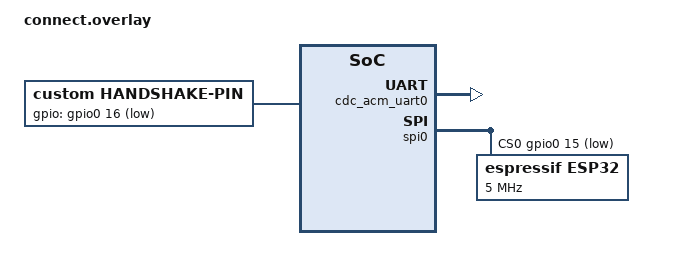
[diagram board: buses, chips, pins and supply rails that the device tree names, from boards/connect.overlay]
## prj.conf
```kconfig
CONFIG_GPIO=y
CONFIG_SPI=y
CONFIG_SERIAL=y
CONFIG_CONSOLE=y
CONFIG_UART_CONSOLE=y
CONFIG_UART_LINE_CTRL=y

CONFIG_NCS_SAMPLES_DEFAULTS=y

CONFIG_HEAP_MEM_POOL_SIZE=16384

CONFIG_BT=y
CONFIG_BT_DEBUG_LOG=y
CONFIG_BT_CENTRAL=y
CONFIG_BT_GATT_CLIENT=y
CONFIG_BT_HRS_CLIENT=y
CONFIG_BT_GATT_DM=y

CONFIG_BT_SCAN=y
CONFIG_BT_SCAN_FILTER_ENABLE=y
CONFIG_BT_SCAN_UUID_CNT=1

CONFIG_BT_CTLR_ADV_EXT=y
CONFIG_BT_CTLR_PHY_CODED=y

CONFIG_BT_EXT_ADV=y
CONFIG_BT_USER_PHY_UPDATE=y

CONFIG_BT_MAX_CONN=20
CONFIG_BT_RX_STACK_SIZE=16384

# USB subsystem configuration
CONFIG_USB_DEVICE_STACK=y
CONFIG_USB_DEVICE_PRODUCT="Zephyr USB Console"
CONFIG_USB_DEVICE_INITIALIZE_AT_BOOT=y
CONFIG_MAIN_STACK_SIZE=8196
```

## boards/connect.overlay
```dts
/*
 * Copyright (c) 2022-2023 Marcin Niestroj
 *
 * SPDX-License-Identifier: Apache-2.0
 */
 / {
    chosen {
        zephyr,console = &cdc_acm_uart0;
    };

    // reserved-memory {
    //     #address-cells = <1>;
    //     #size-cells = <1>;
    //     ranges;
    // };

    handshake: handshake {
        compatible = "custom,handshake-pin";
        gpios = <&gpio0 16 (GPIO_ACTIVE_LOW | GPIO_PULL_UP)>;
        status = "okay";
    };
    // cs: cs {
    //     compatible = "nordic,gpio-pins";
    //     gpios = <&gpio0 15 GPIO_ACTIVE_LOW>;
    //     status = "okay";        
    // };
};

&zephyr_udc0 {
    cdc_acm_uart0: cdc_acm_uart0 {
        compatible = "zephyr,cdc-acm-uart";
    };
};

&i2c0 {
    status = "disabled";
};

&spi0 {
	compatible = "nordic,nrf-spi";
	status = "okay";
	pinctrl-0 = <&spi0_default>;
	pinctrl-1 = <&spi0_sleep>;
	pinctrl-names = "default", "sleep";
    cs-gpios = <&gpio0 15 GPIO_ACTIVE_LOW>;
	esp32: esp32@0 {
		compatible = "espressif,esp32";
		reg = <0>;
		spi-max-frequency = <5000000>; 
	};
};

&i2c1 {
    status = "disabled";
};
```

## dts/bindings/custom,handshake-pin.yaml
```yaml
description: GPIO pin to receive handshake from ESP32

compatible: "custom,handshake-pin"

properties:
  gpios:
    type: phandle-array
    required: true
    description: |
      The GPIO connected the handshake pin of the ESP32
```

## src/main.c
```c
#include <stdio.h>
#include <string.h>
#include <stdint.h>
#include <zephyr/kernel.h>
#include <zephyr/device.h>

#include <zephyr/devicetree.h>
#include <zephyr/drivers/gpio.h>
#include <zephyr/logging/log.h>
#include <zephyr/drivers/spi.h>
#include <zephyr/sys/printk.h>
#include <zephyr/sys/byteorder.h>
#include <zephyr/sys/mutex.h>
#include <zephyr/drivers/clock_control.h>
#include <zephyr/posix/time.h>
#include <zephyr/bluetooth/bluetooth.h>
#include <zephyr/bluetooth/conn.h>
#include <zephyr/bluetooth/uuid.h>
#include <zephyr/bluetooth/gatt.h>
#include <bluetooth/gatt_dm.h>
#include <bluetooth/scan.h>
#include <zephyr/random/random.h>

#include "env_client.h"  
#include "spi_communication.h"

#define SLEEP_TIME_MS   1000

#define DEVICE_NAME             "Basisstion1"
#define DEVICE_NAME_LEN         (sizeof(DEVICE_NAME) - 1)

#define MAX_CONNECTIONS 20
#define SENSOR_DATA_SIZE 129
#define QUEUE_SIZE 10

#define BT_THREAD_STACK_SIZE 1024
#define SPI_THREAD_STACK_SIZE 1024

static const struct gpio_dt_spec led = GPIO_DT_SPEC_GET(LED0_NODE, gpios);
static const struct gpio_dt_spec led1 = GPIO_DT_SPEC_GET(LED1_NODE, gpios);

//static struct bt_conn *default_conn = NULL; 
//static struct bt_conn *default_conn[MAX_CONNECTIONS] = {NULL}; // Array van pointers naar bt_conn

static struct bt_sensorSht_client sht45s_c[MAX_CONNECTIONS];

K_THREAD_STACK_DEFINE(bt_thread_stack_area, BT_THREAD_STACK_SIZE);

K_THREAD_STACK_DEFINE(spi_thread_stack_area, SPI_THREAD_STACK_SIZE);

struct sensor_data {
    uint16_t temperature;
    uint16_t humidity;
    uint32_t node_id;
};

K_MSGQ_DEFINE(sensor_data_queue, sizeof(struct sensor_data), QUEUE_SIZE, 4);

struct k_thread bt_thread_data;
struct k_thread spi_thread_data;

struct time_data {
	time_t time;
	int64_t uptime;
};

struct time_data current_time = {0, 0};
// bool check_connection_status()
// {
//     if (default_conn != NULL) {
//         return true;
//     } else {
//         return false;
//     }
// }

bool check_connection_status()
{
    for (int i = 0; i < MAX_CONNECTIONS; i++) {
        if (sht45s_c[i].conn != NULL) {
            return true;
        }
    }
    return false;
}

static void notify_func(struct bt_sensorSht_client *sht45s_c,
			const struct env_data *meas,
			int err)
{
	char addr[BT_ADDR_LE_STR_LEN];

    if (meas == NULL) {
        printk("Error: Invalid measurement data format received\n");
        return;
    }

    if (!check_connection_status()) {
        printk("Error: Connection to Basestation is not active\n");
        return;
    }

	if (err) {
		printk("Error during receiving SHT45 sensor Measurement notification, err: %d\n",
		       err);
		printk("Received data details:\n");
        printk("\tNode_id: %X\n", meas->node_id);
        printk("\tTemperature: %d\n", meas->temperature);
        printk("\tHumidity: %d\n", meas->humidity);
		return;
	}
    //handshake_toggled(meas->temperature, meas->humidity, meas->node_id);
    
    printk("SHT45 sensor Measurement notification received:\n\n");
	printk("\tNode_id: %X\n", meas->node_id);
    printk("\tTemperature: %d\n", meas->temperature);
    printk("\tHumidity: %d\n", meas->humidity);

	printk("\n");
	for (int i = 0; i < MAX_CONNECTIONS; i++) {
        if (sht45s_c[i].conn != NULL) {
			bt_addr_le_to_str(bt_conn_get_dst(sht45s_c[i].conn), addr, sizeof(addr));
			printk("Connected: %s, \n",addr);
		}
	}
}

static void discover_sht45s_completed(struct bt_gatt_dm *dm, void *ctx)
{
	int err;

	printk("The discovery procedure succeeded\n");

	bt_gatt_dm_data_print(dm);

	struct bt_sensorSht_client *sht45_client = (struct bt_sensorSht_client *)ctx;


	err = bt_sht45s_client_handles_assign(dm, sht45_client);
	if (err) {
		printk("Could not init sht45S client object (err %d)\n", err);
		return;
	}

	err = bt_sht45s_client_measurement_subscribe(sht45_client, notify_func);
	if (err && err != -EALREADY) {
		printk("Subscribe failed (err %d)\n", err);
	} else {
		printk("[SUBSCRIBED]\n");
	}

	err = bt_gatt_dm_data_release(dm);
	if (err) {
		printk("Could not release the discovery data (err %d)\n", err);
	}

	err = bt_gatt_dm_continue(dm, NULL);
	if (err) {
		printk("Could not continue the discovery procedure (err %d)\n", err);
	}
	err = bt_scan_start(BT_SCAN_TYPE_SCAN_ACTIVE);
	if (err) {
		printk("Scanning failed to start (err %d)\n", err);
    }
}

static void discover_sht45s_service_not_found(struct bt_conn *conn, void *ctx)
{
	printk("No more services\n");
}

static void discover_sht45s_error_found(struct bt_conn *conn, int err, void *ctx)
{
	printk("The discovery procedure failed, err %d\n", err);
}

static struct bt_gatt_dm_cb discover_sht45s_cb = {
	.completed = discover_sht45s_completed,
	.service_not_found = discover_sht45s_service_not_found,
	.error_found = discover_sht45s_error_found,
};

static void scan_filter_match(struct bt_scan_device_info *device_info,
			      struct bt_scan_filter_match *filter_match,
			      bool connectable)
{
	int err = 0;
	char addr[BT_ADDR_LE_STR_LEN];
	struct bt_conn_le_create_param *conn_params;
	int ref = 0;

	bt_addr_le_to_str(device_info->recv_info->addr, addr, sizeof(addr));

	printk("Filters matched. Address: %s connectable: %s\n",
		addr, connectable ? "yes" : "no");

	conn_params = BT_CONN_LE_CREATE_PARAM(
			BT_CONN_LE_OPT_CODED | BT_CONN_LE_OPT_NO_1M,
			BT_GAP_SCAN_FAST_INTERVAL,
			BT_GAP_SCAN_FAST_INTERVAL);

	err = bt_scan_stop();
	if (err) {
		printk("Stop LE scan failed (err %d)\n", err);
	}


	for (int i = 0; i < MAX_CONNECTIONS; i++) {
        if (sht45s_c[i].conn == NULL) {
			ref = i;
			break;
		}
	}

	err = bt_conn_le_create(device_info->recv_info->addr, conn_params,
							BT_LE_CONN_PARAM_DEFAULT,
							&sht45s_c[ref].conn);

	// for (int i = 0; i < MAX_CONNECTIONS; i++) {
	// 	printk("i = %d\n", i);
	// 	if (sht45s_c[i].conn == NULL) {
	// 		sht45s_c[i].conn = conn;
	// 		break;
	// 	}
	// }

	if (err) {
		printk("Create conn failed (err %d)\n", err);
	}

	else {
		err = bt_scan_start(BT_SCAN_TYPE_SCAN_ACTIVE);
		if (err) {
			printk("Scanning failed to start (err %d)\n", err);
    	}
		return;
	}
	printk("Connection pending\n");
}

BT_SCAN_CB_INIT(scan_cb, scan_filter_match, NULL, NULL, NULL);

static void scan_init(void)
{
	int err;

	/* Use active scanning and disable duplicate filtering to handle any
	 * devices that might update their advertising data at runtime. */
	struct bt_le_scan_param scan_param = {
		.type     = BT_LE_SCAN_TYPE_ACTIVE,
		.interval = BT_GAP_SCAN_FAST_INTERVAL,
		.window   = BT_GAP_SCAN_FAST_WINDOW,
		.options  = BT_LE_SCAN_OPT_CODED | BT_LE_SCAN_OPT_NO_1M
	};

	struct bt_scan_init_param scan_init = {
		.connect_if_match = 0,
		.scan_param = &scan_param,
		.conn_param = NULL
	};

	bt_scan_init(&scan_init);
	bt_scan_cb_register(&scan_cb);

	err = bt_scan_filter_add(BT_SCAN_FILTER_TYPE_UUID, BT_UUID_ESS);
	if (err) {
		printk("Scanning filters cannot be set (err %d)\n", err);
		return;
	}

	err = bt_scan_filter_enable(BT_SCAN_UUID_FILTER, false);
	if (err) {
		printk("Filters cannot be turned on (err %d)\n", err);
	}
}

static void connected(struct bt_conn *conn, uint8_t conn_err)
{
	int err;
	struct bt_conn_info info;
	char addr[BT_ADDR_LE_STR_LEN];

	bt_addr_le_to_str(bt_conn_get_dst(conn), addr, sizeof(addr));

	if (conn_err) {
		printk("Failed to connect to %s (%u)\n", addr, conn_err);

		// for (int i = 0; i < MAX_CONNECTIONS; i++) {
		// 	if (default_conn[i] == conn) {
		// 		bt_conn_unref(default_conn[i]);
		// 		default_conn[i] = NULL;
		// 		break;
		// 	}
		// }
		// return;
	}

	err = bt_conn_get_info(conn, &info);
	if (err) {
		printk("Failed to get connection info (err %d)\n", err);
	} else {
		const struct bt_conn_le_phy_info *phy_info;

		phy_info = info.le.phy;
		printk("Connected: %s, tx_phy %u, rx_phy %u\n",
				addr, phy_info->tx_phy, phy_info->rx_phy);
	}



	for (int i = 0; i < MAX_CONNECTIONS; i++) {
        if (sht45s_c[i].conn == NULL) {
			sht45s_c[i].conn = conn;
			bt_sht45s_client_init(&sht45s_c[i]);
			err = bt_gatt_dm_start(conn, BT_UUID_ESS, &discover_sht45s_cb, &sht45s_c[i]);
			if (err) {
				printk("Failed to start discovery (err %d)\n", err);
			}
			break;
		}
	}
	// if (conn == default_conn[ref]) {
	// 	err = bt_gatt_dm_start(conn, BT_UUID_ESS, &discover_sht45s_cb, NULL);
	// 	if (err) {
	// 		printk("Failed to start discovery (err %d)\n", err);
	// 	}
	// }
	
}

static void disconnected(struct bt_conn *conn, uint8_t reason)
{
	int err;
	char addr[BT_ADDR_LE_STR_LEN];

	bt_addr_le_to_str(bt_conn_get_dst(conn), addr, sizeof(addr));

	printk("Disconnected: %s (reason 0x%02x)\n", addr, reason);

	for (int i = 0; i < MAX_CONNECTIONS; i++) {
        if (sht45s_c[i].conn  == conn) {
			bt_sht45s_client_measurement_unsubscribe(&sht45s_c[i]);
            bt_conn_unref(sht45s_c[i].conn);
            sht45s_c[i].conn = NULL;
            break;
        }
    }
	err = bt_scan_start(BT_SCAN_TYPE_SCAN_ACTIVE);
	if (err) {
		printk("Scanning failed to start (err %d)\n", err);
    }
}

BT_CONN_CB_DEFINE(conn_callbacks) = {
	.connected = connected,
	.disconnected = disconnected,
};

int ble_enable(void)
{
	int err;

	printk("Starting Bluetooth Central sht45s\n");

	err = bt_enable(NULL);
	if (err) {
		printk("Bluetooth init failed (err %d)\n", err);
		return 0;
	}

	printk("Bluetooth initialized\n");

	for (int i = 0; i < MAX_CONNECTIONS; i++) {
		sht45s_c[i].conn = NULL;  // Initialize the connection pointer to NULL
		// Initialize other fields as necessary
	}

	// err = bt_sht45s_client_init(&sht45s_c);
	// if (err) {
	// 	printk("SHT45 sensor Service client failed to init (err %d)\n", err);
	// 	return 0;
	// }

	scan_init();

	err = bt_scan_start(BT_SCAN_TYPE_SCAN_ACTIVE);
	if (err) {
		printk("Scanning failed to start (err %d)\n", err);
		return 0;
	}   
    printk("Scanning successfully started\n");
    return 1;
}

void convert_time(char *timestamp)
{
	int year, month, day, hour, minute, second;
	struct tm timeinfo;
	if (sscanf(timestamp, "%4d%2d%2d%2d%2d%2d", &year, &month, &day, &hour, &minute, &second) == 6) {// tm_year is years since 1900
		timeinfo.tm_year = year - 1900;
		// tm_mon is 0-based, January is 0
		timeinfo.tm_mon = month - 1;
		timeinfo.tm_mday = day;
		timeinfo.tm_hour = hour;
		timeinfo.tm_min = minute;
		timeinfo.tm_sec = second;
		// Set this to -1 to tell mktime() to determine whether DST is in effect
		timeinfo.tm_isdst = -1;
	}
	current_time.time = mktime(&timeinfo);
	current_time.uptime = k_uptime_get();
	//time(&t);
    //localtime_r(&now, &timeinfo);
	//print the time_t as a string
	
}

void get_current_time_char(void) 
{
	int64_t time_difference = k_uptime_get() - current_time.uptime;
	struct tm *timeinfo = localtime(current_time.time);
	//add time difference to current time
	printk("Time difference: %lld\n", time_difference);
}

void bluetooth_thread(void *unused1, void *unused2, void *unused3)
{
	struct sensor_data data;
	data.temperature = 1553;
	data.humidity = 7813;
	data.node_id = 1847;
    while (1) { 
		k_sleep(K_MSEC(60000));
		k_msgq_put(&sensor_data_queue, &data, K_FOREVER);
		get_current_time_char();
    }
}

void spi_thread(void *unused1, void *unused2, void *unused3)
{
	uint8_t recvbuf[129];
	struct sensor_data data;
	int ret;
    ret = spi_init();
    printk("SPI INIT ERROR %d\n", ret);
	while(1){

		if (k_msgq_get(&sensor_data_queue, &data, K_SECONDS(1))==0){

			spi_data(data.temperature, data.humidity, data.node_id, "camu", "timestamp", recvbuf);
			spi_sync("SYNC", recvbuf);
			if (strcmp(recvbuf, "DATA_OK") == 0) {
				printk("Data: %s\n", recvbuf);
			}
		}
		else{
			spi_sync("SYNC", recvbuf);
			if (strcmp(recvbuf, "TIME_SYNC") == 0) {
				spi_sync("TIME_SYNC", recvbuf);
				if (strlen(recvbuf) == 9) {
					spi_sync("TIME_OK", recvbuf);
					convert_time(recvbuf);
				}
			}
		}


		//handshake_toggled(data.temperature, data.humidity, data.node_id);
	}
}

int main(void)
{
    int ret;
    ret = ble_enable();
    printk("BLE INIT ERROR %d\n", ret);

    if (!device_is_ready(led.port)||!device_is_ready(led1.port)) {
        return 0;
    }
    k_tid_t bt_thread_id = k_thread_create(&bt_thread_data, bt_thread_stack_area,
                                           K_THREAD_STACK_SIZEOF(bt_thread_stack_area),
                                           bluetooth_thread,
                                           NULL, NULL, NULL,
                                           1, 0, K_NO_WAIT);

    // Start SPI thread
    k_tid_t spi_thread_id = k_thread_create(&spi_thread_data, spi_thread_stack_area,
                                            K_THREAD_STACK_SIZEOF(spi_thread_stack_area),
                                            spi_thread,
                                            NULL, NULL, NULL,
                                            2, 0, K_NO_WAIT);

    ret = gpio_pin_configure_dt(&led, GPIO_OUTPUT_ACTIVE);
    ret = gpio_pin_configure_dt(&led1, GPIO_OUTPUT_ACTIVE);   
    if (ret < 0) {
        return 0;
    }


    while (1) {
        ret = gpio_pin_toggle_dt(&led);
        if (ret < 0) {
            return 0;
        }
        k_msleep(SLEEP_TIME_MS*10);
    }
    return 0;
}
```

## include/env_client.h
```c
/*
 * Copyright (c) 2021 Nordic Semiconductor
 *
 * SPDX-License-Identifier: LicenseRef-Nordic-5-Clause
 */

#ifndef BT_HRS_CLIENT_H_
#define BT_HRS_CLIENT_H_

/**
 * @file
 * @defgroup bt_hrs_client sht45 Service Client
 * @{
 * @brief Sht45 Service Client API.
 */

#include <zephyr/bluetooth/conn.h>
#include <bluetooth/gatt_dm.h>
#include <zephyr/bluetooth/gatt.h>

#include <zephyr/sys/atomic.h>

#ifdef __cplusplus
extern "C" {
#endif

/**@brief Sht45 sensor Service error codes
 *
 * This service defines the following Attribute Protocol Application error codes.
 */
enum bt_hrs_client_error {
	/** Control Point value not supported. */
	BT_HRS_CLIENT_ERROR_CP_NOT_SUPPORTED = 0x80
};


/**@brief Sht45 Measurement flags structure.
 */
struct bt_sensor_flags {
	/** Value Format flag. */
	uint8_t value_format : 1;

	/** Sensor Contact detected flag. */
	uint8_t sensor_contact_detected : 1;

	/** Sensor Contact supported flag. */
	uint8_t sensor_contact_supported : 1;

	/** Energy Expended preset flag. */
	uint8_t energy_expended_present : 1;

	/** RR-intervals present flag. */
	uint8_t rr_intervals_present : 1;
};


struct bt_buf {
    uint8_t *data;
    uint16_t len;
};

struct bt_hrs_flags {
	/** Value Format flag. */
	uint8_t value_format : 1;

	/** Sensor Contact detected flag. */
	uint8_t sensor_contact_detected : 1;

	/** Sensor Contact supported flag. */
	uint8_t sensor_contact_supported : 1;

	/** Energy Expended preset flag. */
	uint8_t energy_expended_present : 1;

	/** RR-intervals present flag. */
	uint8_t rr_intervals_present : 1;
};

struct env_data {
	/** Flags structure. */
	struct bt_sensor_flags flags;

	/** RR-intervals count. */
	uint8_t rr_intervals_count;

	/** RR-intervals represented by 1/1024 second as unit. Present if
	 * @ref bt_hrs_flags.rr_intervals_present is set. The interval with index 0 is older than
	 * the interval with index 1.
	 */
	uint16_t rr_intervals[10];

    int16_t temperature;
    uint16_t humidity;
	uint32_t node_id;
};


/**@brief Data structure of the Sensor Measurement characteristic.
 */
struct bt_sensor_client_measurement {
	/** Flags structure. */
	struct bt_sensor_flags flags;

	/** RR-intervals count. */
	uint8_t rr_intervals_count;

	/** RR-intervals represented by 1/1024 second as unit. Present if
	 * @ref bt_hrs_flags.rr_intervals_present is set. The interval with index 0 is older than
	 * the interval with index 1.
	 */
	uint16_t rr_intervals[CONFIG_BT_HRS_CLIENT_RR_INTERVALS_COUNT];  //CONFIG_BT_HRS_CLIENT_RR_INTERVALS_COUNT

	/** Sensor Measurement Value in beats per minute unit. */
	uint16_t sensor_value;

	/** Energy Expended in joule unit. Present if @ref bt_hrs_flags.energy_expended_present
	 * is set.
	 */
	uint16_t energy_expended;
};

/* Helper forward structure declaration representing Sensor Service Client instance.
 * Needed for callback declaration that are using instance structure as argument.
 */
struct bt_sensorSht_client;



/**@brief Sht45 Measurement notification callback.
 *
 * This function is called every time the client receives a notification
 * with sht45 Measurement data.
 *
 * @param[in] hrs_c sht45 Service Client instance.
 * @param[in] meas sht45 Measurement received data.
 * @param[in] err 0 if the notification is valid.
 *                Otherwise, contains a (negative) error code.
 */
typedef void (*bt_sht45s_client_notify_cb)(struct bt_sensorSht_client *sht45s_c,
					const struct env_data *meas,
					int err); //bt_sensor_client_measurement *meas


/**@brief SensorSht45 Measurement characteristic structure.
 */
struct bt_sensorSht_client_meas {
    /** Value handle. */
	uint16_t handle;

	/** Handle of the characteristic CCC descriptor. */
	uint16_t ccc_handle;

	/** GATT subscribe parameters for notification. */
	struct bt_gatt_subscribe_params notify_params;

    /** Notification callback. */
	bt_sht45s_client_notify_cb notify_cb;

};

/**@brief Sht45 Service Client instance structure.
 *        This structure contains status information for the client.
 */
struct bt_sensorSht_client {
	/** Connection object. */
	struct bt_conn *conn;

	/** Sensor data measurements characteristic. */
	struct bt_sensorSht_client_meas measurement_char;

	/** Internal state. */
	atomic_t state;
};

/**@brief Function for initializing the sht45 Service Client.
 *
 * @param[in, out] hrs_c sht45 Service Client instance. This structure must be
 *                       supplied by the application. It is initialized by
 *                       this function and will later be used to identify
 *                       this particular client instance.
 *
 * @retval 0 If the client was initialized successfully.
 *           Otherwise, a (negative) error code is returned.
 */
int bt_sht45s_client_init(struct bt_sensorSht_client *sht45s_c);

/**@brief Subscribe to sht45 Measurement notification.
 *
 * This function writes CCC descriptor of the sht45 Measurement characteristic
 * to enable notification.
 *
 * @param[in] hrs_c sht45 Service Client instance.
 * @param[in] notify_cb   Notification callback.
 *
 * @retval 0 If the operation was successful.
 *           Otherwise, a (negative) error code is returned.
 */
int bt_sht45s_client_measurement_subscribe(struct bt_sensorSht_client *sht45s_c,
					bt_sht45s_client_notify_cb notify_cb);

/**@brief Remove subscription to the sht45 Measurement notification.
 *
 * This function writes CCC descriptor of the sht45 Measurement characteristic
 * to disable notification.
 *
 * @param[in] hrs_c sht45 Service Client instance.
 *
 * @retval 0 If the operation was successful.
 *           Otherwise, a (negative) error code is returned.
 */
int bt_sht45s_client_measurement_unsubscribe(struct bt_sensorSht_client *sht45s_c);


/**@brief Function for assigning handles to sht45 Service Client instance.
 *
 * @details Call this function when a link has been established with a peer to
 *          associate the link to this instance of the module. This makes it
 *          possible to handle several links and associate each link to a particular
 *          instance of this module.
 *
 * @param[in]     dm     Discovery object.
 * @param[in,out] hrs_c  sht45 Service Client instance for associating the link.
 *
 * @retval 0 If the operation is successful.
 *           Otherwise, a (negative) error code is returned.
 */
int bt_sht45s_client_handles_assign(struct bt_gatt_dm *dm, struct bt_sensorSht_client *sht45s_c);

#ifdef __cplusplus
}
#endif

/**
 *@}
 */

#endif /* BT_HRS_CLIENT_H_ */
```

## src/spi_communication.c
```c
#include <stdio.h>

#include <zephyr/kernel.h>
#include <zephyr/device.h>
#include <zephyr/devicetree.h>
#include <zephyr/drivers/gpio.h>
#include <zephyr/logging/log.h>
#include <zephyr/drivers/spi.h>
#include <zephyr/sys/printk.h>
#include <zephyr/sys/byteorder.h>
#include <zephyr/sys/mutex.h>

#include  "env_client.h"
#include "spi_communication.h"

#define SLEEP_TIME_MS   1000

#if !DT_NODE_EXISTS(HANDSHAKE)
#error "Overlay for handshake node not properly defined."
#endif



static struct gpio_dt_spec handshake = GPIO_DT_SPEC_GET_OR(HANDSHAKE, gpios, {0});
// static const struct gpio_dt_spec cs = GPIO_DT_SPEC_GET(CS, gpios);

struct spi_dt_spec spispec = SPI_DT_SPEC_GET(DT_NODELABEL(esp32), SPIOP, 10);

int n = 0;

typedef struct sensor_data {
    int id;
    char *sens;
    int temp; 
    int hum;
    char *camu;
    char *timestamp;
} sensor_data;


void spi_ctrl_transmit(uint8_t *sendbuf, uint8_t *recvbuf)
{
	int err;
    struct spi_buf tx_buf = {
        .buf = sendbuf,
        .len = 129
    }; 

    struct spi_buf rx_buf = {
        .buf = recvbuf,
        .len = 129
    };

    struct spi_buf_set tx_bufs = {
        .buffers = &tx_buf,
        .count = 1
    };

    struct spi_buf_set rx_bufs = {
        .buffers = &rx_buf,
        .count = 1
    };
    printk("Sending: %s\n", sendbuf); 
	err = spi_transceive(spispec.bus, &spispec.config, &tx_bufs, &rx_bufs);
	if (err < 0) {
		printk("spi_ctrl_transmit: Error on %d\n", err);
	}
    printk("Received: %s\n", recvbuf);
}


void spi_data(int16_t temperature, uint16_t humidity, uint32_t node_id, uint8_t *camu, uint8_t *timestamp, uint8_t *recvbuf)
{
    n++;
    uint8_t sendbuf[129];
    snprintf((char *)sendbuf, sizeof(sendbuf), 
        "\"ID\":\"%d\",\"SENS\":\"%X\",\"CAMU\":\"%s\",\"TEMP\":%d,\"HUM\":%d,\"TIMESTAMP\":\"%s\"",
       n, node_id, camu , temperature, humidity, timestamp);
    //memcpy(recvbuf, sendbuf, strlen((char *)sendbuf) + 1);
    while(1){
        if (gpio_pin_get_dt(&handshake)==0) {
            spi_ctrl_transmit(sendbuf, recvbuf);
            break;
        }
    }
}

void spi_sync(uint8_t *recvbuf)
{
    uint8_t sendbuf[129] =  "SYNC";
    memcpy(recvbuf, sendbuf, strlen((char *)sendbuf) + 1);
    //while(1){
        // if (gpio_pin_get_dt(&handshake)==0) {
        //     spi_ctrl_transmit(sendbuf, recvbuf);
        //     break;
        // }
    //}
}

int spi_init(void)
{
    int ret;
    struct spi_cs_control spi_cs = { 
        .gpio = GPIO_DT_SPEC_GET(SPI, cs_gpios),
        .delay = 1,
    };


    printk("%s", spi_cs.gpio.port->name);
    
    spispec.config.cs = spi_cs;
    spispec.config.slave = 0;
    spispec.config.frequency = 5000000;

    if (!gpio_is_ready_dt(&handshake)) {
        return 1;
    }

    ret = gpio_pin_configure_dt(&handshake, GPIO_INPUT);
    if (ret < 0) 
    {
        printk("gpio_pin_configure_dt %d Error on %s", ret, handshake.port->name);
        return 2;
    }

    ret = spi_is_ready_dt(&spispec);
    if (ret < 0) 
    {
        printk("gpio_add_callback %d Error on %s", ret, handshake.port->name);
        return 5;
    }
    return 0;
}
```
